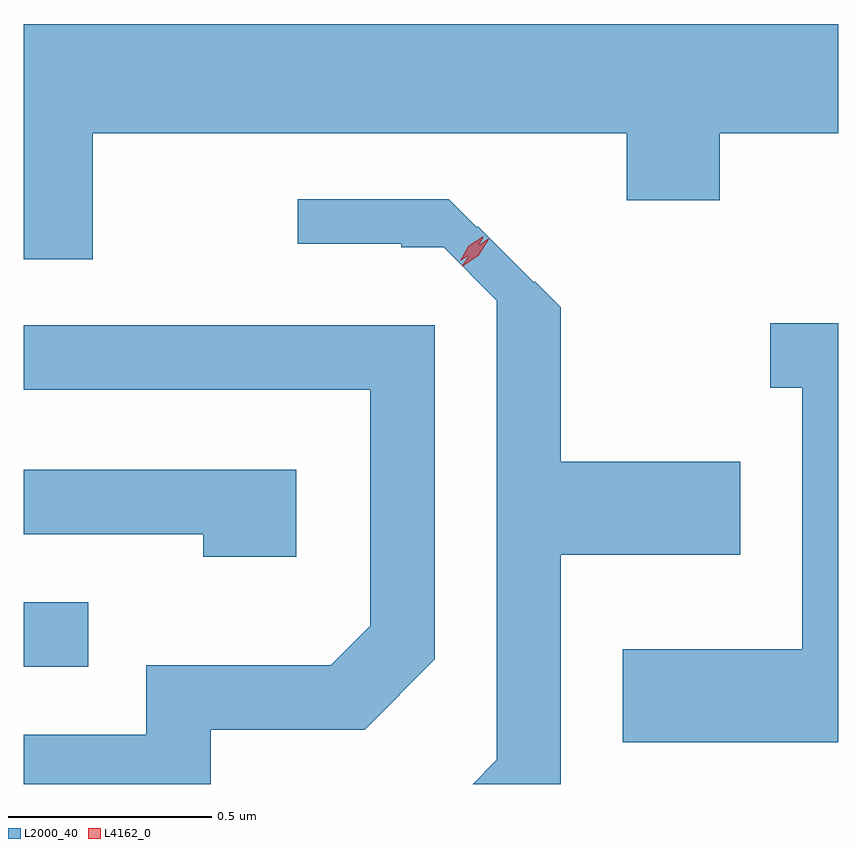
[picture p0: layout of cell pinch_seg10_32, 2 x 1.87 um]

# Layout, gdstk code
import gdstk
lib = gdstk.Library(unit=1e-6, precision=1e-09)
def R(c, l, rs):  # rectangles x0, y0, x1, y1
    for r in rs: c.add(gdstk.rectangle(r[:2], r[2:], *l))
def P(c, l, *ps):  # polygons
    for p in ps: c.add(gdstk.Polygon(p, *l))
L2000_40 = (2000, 40)
L4162_0 = (4162, 0)

pinch_seg10_32 = lib.new_cell('pinch_seg10_32')
R(pinch_seg10_32, L2000_40, [(601.35,2205.846,601.508,2206.004)])
P(pinch_seg10_32, L2000_40, [(601.519,2207.156),(602.831,2207.156),(602.831,2206.991),(603.059,2206.991),(603.059,2207.156),(603.35,2207.156),(603.35,2207.424),(601.35,2207.424),(601.35,2206.846),(601.519,2206.846)],
  [(602.669,2206.121),(603.109,2206.121),(603.109,2206.349),(602.669,2206.349),(602.669,2206.728),(602.605,2206.792),(602.602,2206.79),(602.465,2206.927),(602.462,2206.925),(602.393,2206.994),(602.023,2206.994),(602.023,2206.884),(602.277,2206.884),(602.277,2206.876),(602.381,2206.876),(602.512,2206.745),(602.512,2206.65),(602.511,2206.65),(602.511,2205.617),(602.453,2205.558),(602.669,2205.558)],
  [(603.35,2206.689),(603.183,2206.689),(603.183,2206.531),(603.261,2206.531),(603.261,2205.889),(602.821,2205.889),(602.821,2205.661),(603.35,2205.661)],
  [(601.809,2205.691),(602.187,2205.691),(602.359,2205.864),(602.359,2206.684),(601.35,2206.684),(601.35,2206.526),(602.201,2206.526),(602.201,2205.947),(602.104,2205.849),(601.651,2205.849),(601.651,2205.679),(601.35,2205.679),(601.35,2205.558),(601.809,2205.558)],
  [(602.019,2206.329),(601.35,2206.329),(601.35,2206.171),(601.791,2206.171),(601.791,2206.116),(602.019,2206.116)])
P(pinch_seg10_32, L4162_0, [(602.427,2206.829),(602.427,2206.83),(602.452,2206.87),(602.491,2206.897),(602.492,2206.897),(602.492,2206.896),(602.467,2206.856),(602.428,2206.829)],
  [(602.422,2206.843),(602.422,2206.843),(602.443,2206.879),(602.477,2206.902),(602.478,2206.902),(602.478,2206.901),(602.457,2206.865),(602.422,2206.843)])

lib.write_gds('pinch_seg10_32.gds')
